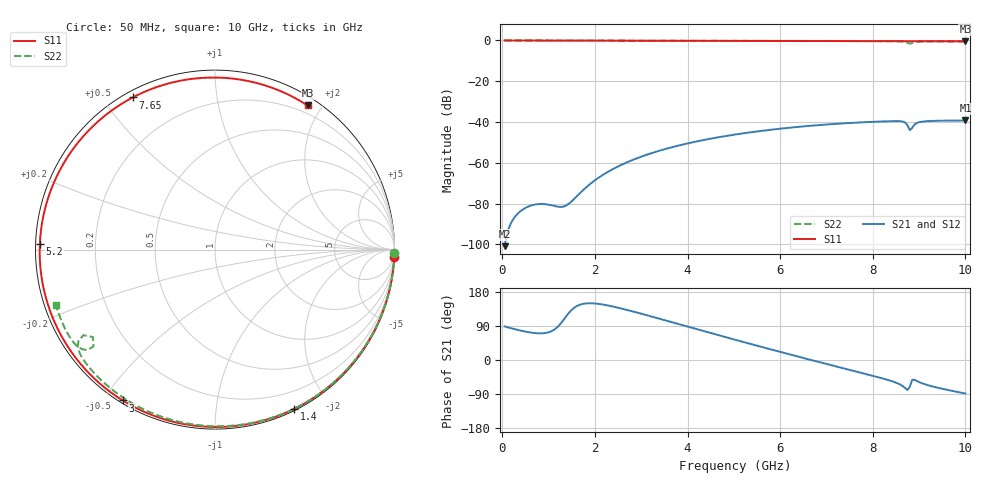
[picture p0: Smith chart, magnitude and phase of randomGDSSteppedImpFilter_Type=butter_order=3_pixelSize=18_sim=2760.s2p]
! freq	dB(S11)	phase(S11)	dB(S12)	phase(S12)
!  dB(S21)	phase(S21)	dB(S22)	phase(S22)
!S-par simulation data
#  GHz  S  DB  R 50
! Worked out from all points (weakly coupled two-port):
!   200 points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, 50 MHz to 10 GHz, reference 50 ohm
!   highest |S21| = -39.25 dB at 10 GHz (marker M1); lowest = -100.9 dB at 50 MHz (marker M2)
!   lowest |S11| = -0.4 dB at 10 GHz (marker M3), VSWR 42.65, Z = 5.09 + j91.3 ohm
!   |S11| at or under -10 dB: nowhere
!   |S22| runs from -1.5 to 0.0 dB; largest |S21 - S12| = 0
!   S11 on the Smith chart (normalised r, x): 50 MHz: 0, -48; 1.4 GHz: 0.02, -1.62; 3 GHz: 0.01, -0.56; 5.2 GHz: 0.01, +0.02; 7.65 GHz: 0.03, +0.60; 10 GHz: 0.10, +1.83
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0.05  -0.00 -2.4  -100.89 88.6  -100.89 88.6  -0.00 -1.0
0.65  -0.04 -30.5  -80.77 71.8  -80.77 71.8  -0.02 -12.2
1.05  -0.06 -48.5  -80.76 75.4  -80.76 75.4  -0.03 -19.7
1.4  -0.08 -63.5  -80.67 118.6  -80.67 118.6  -0.03 -26.1
1.45  -0.08 -65.5  -79.85 126.1  -79.85 126.1  -0.03 -27.1
1.75  -0.09 -77.6  -73.29 148.3  -73.29 148.3  -0.04 -32.5
2  -0.10 -87.2  -68.59 149.1  -68.59 149.1  -0.05 -37.1
2.3  -0.11 -98.1  -64.19 143.4  -64.19 143.4  -0.05 -42.4
3  -0.13 -121.5  -57.00 122.2  -57.00 122.2  -0.07 -54.7
3.4  -0.14 -133.7  -54.03 108.7  -54.03 108.7  -0.08 -61.6
4.2  -0.17 -156.1  -49.51 81.3  -49.51 81.3  -0.11 -75.0
5.05  -0.20 -178.0  -46.06 52.6  -46.06 52.6  -0.14 -88.6
5.2  -0.21 178.2  -45.56 47.6  -45.56 47.6  -0.14 -91.0
5.95  -0.24 159.8  -43.40 23.1  -43.40 23.1  -0.18 -102.5
6.7  -0.28 141.7  -41.76 -1.0  -41.76 -1.0  -0.22 -113.8
7.65  -0.32 118.4  -40.29 -30.7  -40.29 -30.7  -0.29 -127.8
8.35  -0.35 100.7  -39.61 -53.5  -39.61 -53.5  -0.37 -138.6
8.7  -0.36 91.7  -40.24 -74.2  -40.24 -74.2  -0.77 -146.3
8.8  -0.37 89.1  -43.98 -70.5  -43.98 -70.5  -1.55 -144.4
8.9  -0.37 86.5  -41.27 -52.1  -41.27 -52.1  -0.88 -141.8
9.05  -0.37 82.6  -39.86 -60.8  -39.86 -60.8  -0.55 -145.3
10  -0.41 57.3  -39.25 -88.3  -39.25 -88.3  -0.55 -160.7
